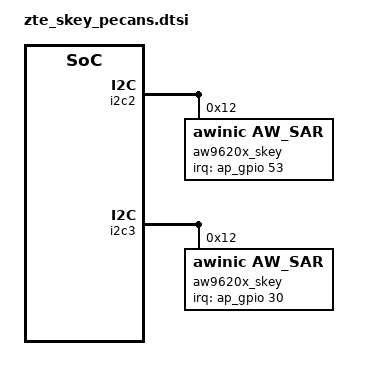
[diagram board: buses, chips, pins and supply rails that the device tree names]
/* add zte skey start */
&i2c2 {
	status = "okay";
	aw9620x_skey@12 {
		compatible = "awinic,aw_sar";
		reg = <0x12>;
		sar-num = < 0 >;
		irq-gpio = <&ap_gpio 53 0>;
		chip_name = "AW96205";
		channel_use_flag = <0x1f>;
		aw_sar,update_fw;
		status = "okay" ;
	};
};

&i2c3 {
	status = "okay";
	aw9620x_skey@12 {
		compatible = "awinic,aw_sar";
		reg = <0x12>;
		sar-num = < 1 >;
		irq-gpio = <&ap_gpio 30 0>;
		chip_name = "AW96205";
		channel_use_flag = <0x1f>;
		aw_sar,update_fw;
		status = "okay" ;
	};
};

/* add zte skey end */
